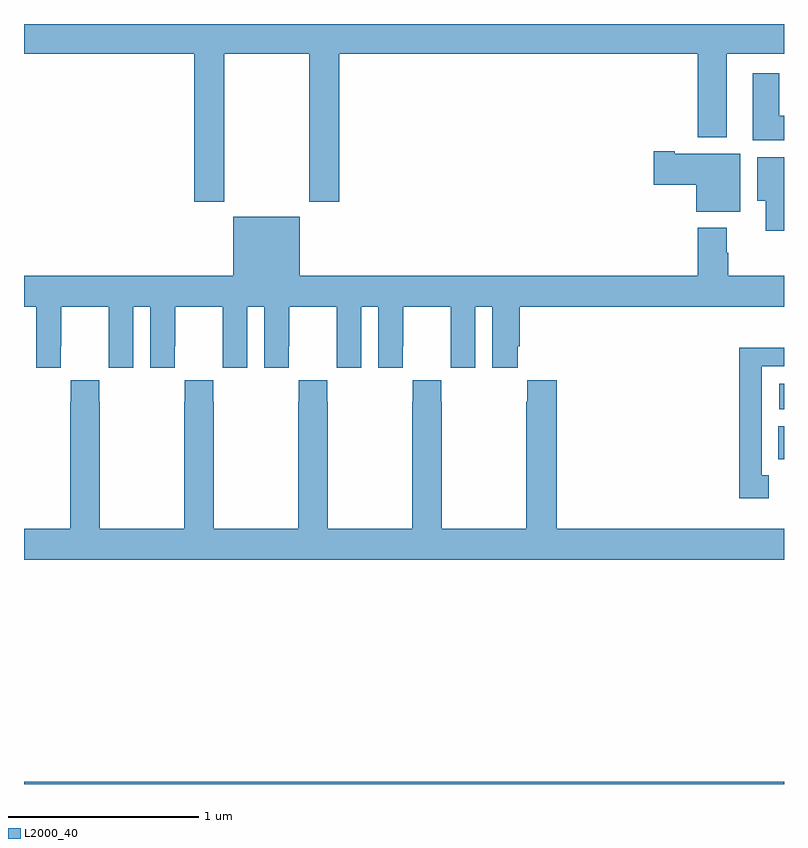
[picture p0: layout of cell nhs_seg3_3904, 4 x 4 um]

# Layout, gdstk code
import gdstk
lib = gdstk.Library(unit=1e-6, precision=1e-09)
def R(c, l, rs):  # rectangles x0, y0, x1, y1
    for r in rs: c.add(gdstk.rectangle(r[:2], r[2:], *l))
def P(c, l, *ps):  # polygons
    for p in ps: c.add(gdstk.Polygon(p, *l))
L2000_40 = (2000, 40)

nhs_seg3_3904 = lib.new_cell('nhs_seg3_3904')
R(nhs_seg3_3904, L2000_40, [(313,702.4,317,702.412), (316.97,704.108,317,704.284), (316.974,704.372,317,704.506)])
P(nhs_seg3_3904, L2000_40, [(314.055,706.244),(314.5,706.244),(314.5,705.465),(314.66,705.465),(314.66,706.244),(316.547,706.244),(316.547,705.803),(316.699,705.803),(316.699,706.244),(317,706.244),(317,706.4),(313,706.4),(313,706.244),(313.895,706.244),(313.895,705.465),(314.055,705.465)],
  [(317,705.916),(316.975,705.916),(316.975,706.141),(316.835,706.141),(316.835,705.788),(317,705.788)],
  [(316.771,705.718),(316.426,705.718),(316.426,705.731),(316.314,705.731),(316.314,705.553),(316.538,705.553),(316.538,705.413),(316.771,705.413)],
  [(317,705.7),(316.859,705.7),(316.859,705.47),(316.904,705.47),(316.904,705.312),(317,705.312)],
  [(314.452,705.385),(314.102,705.385),(314.102,705.076),(313,705.076),(313,704.912),(313.064,704.912),(313.064,704.592),(313.194,704.592),(313.194,704.704),(313.195,704.704),(313.195,704.912),(313.445,704.912),(313.445,704.704),(313.446,704.704),(313.446,704.592),(313.576,704.592),(313.576,704.912),(313.664,704.912),(313.664,704.592),(313.794,704.592),(313.794,704.704),(313.795,704.704),(313.795,704.912),(314.045,704.912),(314.045,704.704),(314.046,704.704),(314.046,704.592),(314.176,704.592),(314.176,704.912),(314.264,704.912),(314.264,704.592),(314.394,704.592),(314.394,704.704),(314.395,704.704),(314.395,704.912),(314.645,704.912),(314.645,704.704),(314.646,704.704),(314.646,704.592),(314.776,704.592),(314.776,704.912),(314.864,704.912),(314.864,704.592),(314.994,704.592),(314.994,704.704),(314.995,704.704),(314.995,704.912),(315.245,704.912),(315.245,704.704),(315.246,704.704),(315.246,704.592),(315.376,704.592),(315.376,704.912),(315.464,704.912),(315.464,704.592),(315.598,704.592),(315.598,704.704),(315.608,704.704),(315.608,704.912),(317,704.912),(317,705.076),(316.707,705.076),(316.707,705.197),(316.699,705.197),(316.699,705.328),(316.547,705.328),(316.547,705.076),(314.452,705.076)],
  [(316.921,704.025),(316.882,704.025),(316.882,704.598),(317,704.598),(317,704.696),(316.764,704.696),(316.764,703.905),(316.921,703.905)],
  [(317,703.744),(315.803,703.744),(315.803,704.524),(315.649,704.524),(315.649,704.411),(315.643,704.411),(315.643,703.744),(315.198,703.744),(315.198,704.411),(315.195,704.411),(315.195,704.524),(315.045,704.524),(315.045,704.411),(315.043,704.411),(315.043,703.744),(314.598,703.744),(314.598,704.411),(314.595,704.411),(314.595,704.524),(314.445,704.524),(314.445,704.411),(314.443,704.411),(314.443,703.744),(313.998,703.744),(313.998,704.411),(313.995,704.411),(313.995,704.524),(313.845,704.524),(313.845,704.411),(313.843,704.411),(313.843,703.744),(313.398,703.744),(313.398,704.411),(313.395,704.411),(313.395,704.524),(313.245,704.524),(313.245,704.411),(313.243,704.411),(313.243,703.744),(313,703.744),(313,703.58),(317,703.58)])

lib.write_gds('nhs_seg3_3904.gds')
